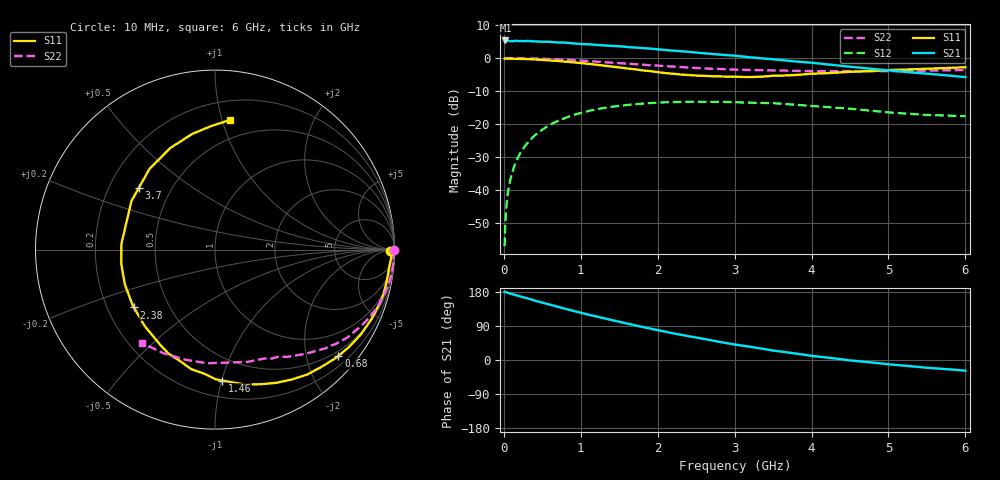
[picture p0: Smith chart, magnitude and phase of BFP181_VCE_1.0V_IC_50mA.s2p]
! Infineon Technologies  Discrete & RF Semiconductors
! BFP181
! VCE = 1.0 V,  IC =  50 mA
! Common Emitter S-Parameters:  Jan 2016
# GHz  S  MA  R  50
!  f  S11  S21  S12  S22
! GHz  MAG  ANG  MAG  ANG  MAG  ANG  MAG  ANG
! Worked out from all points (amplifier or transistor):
!   210 points, 10 MHz to 6 GHz, reference 50 ohm
!   highest |S21| = 5.3 dB at 20 MHz (marker M1)
!   |S21| within 3 dB of that: start of sweep to 2.148 GHz
!   unconditionally stable (mu >= 1): 3.557 GHz to end of sweep
!   at 185 MHz: K = 0.06, MSG = 17.6 dB, |S12| = -30.1 dB
!   at 1.52 GHz: K = 0.49, MSG = 9.0 dB, |S12| = -14.4 dB
!   at 6 GHz: K = 1.53, MAG = 1.6 dB, |S12| = -17.6 dB
!   S11 on the Smith chart (normalised r, x): 10 MHz: 70, -31; 680 MHz: 0.40, -2.64; 1.46 GHz: 0.32, -1.00; 2.38 GHz: 0.31, -0.29; 3.7 GHz: 0.33, +0.32; 6 GHz: 0.35, +1.06
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0.01  0.9765 -0.6  1.817 179.8  0.0014 84.7  0.9985 -0.2
0.015  0.9816 -1.0  1.833 179.6  0.0023 89.4  0.9986 -0.4
0.02  0.9868 -1.3  1.849 179.5  0.0032 91.4  0.9987 -0.6
0.04  0.9831 -2.4  1.833 178.0  0.0069 90.7  0.9981 -1.2
0.07  0.9784 -4.3  1.813 176.1  0.0119 87.4  0.9974 -2.1
0.12  0.9743 -7.4  1.806 173.2  0.0202 84.3  0.9961 -3.6
0.19  0.9717 -11.4  1.818 169.1  0.0323 81.7  0.9955 -5.8
0.4  0.9541 -23.9  1.794 156.9  0.0668 73.0  0.9843 -12.0
0.68  0.9072 -40.7  1.73 141.4  0.1082 61.1  0.9557 -20.1
0.8  0.8824 -47.8  1.717 135.0  0.1236 56.2  0.942 -23.3
1.02  0.8354 -60.5  1.629 123.8  0.1493 47.7  0.9106 -28.9
1.1  0.8174 -65.2  1.622 119.5  0.1574 44.9  0.8989 -30.8
1.46  0.7304 -86.9  1.519 102.6  0.1858 32.5  0.8432 -39.1
1.8  0.6497 -107.7  1.42 87.1  0.2042 22.9  0.7944 -45.5
2.02  0.6067 -121.3  1.351 77.9  0.212 16.9  0.7656 -49.4
2.38  0.5548 -144.5  1.247 63.6  0.2178 7.6  0.7225 -55.8
2.8  0.5284 -171.1  1.129 47.9  0.218 -1.2  0.6851 -62.3
3.1  0.5164 170.9  1.056 38.0  0.2121 -7.1  0.6622 -67.2
3.7  0.5461 141.1  0.909 19.7  0.1992 -16.0  0.6423 -77.6
4.1  0.5833 125.8  0.825 8.8  0.1847 -21.1  0.6323 -85.6
5.1  0.6618 99.2  0.634 -13.0  0.1472 -26.1  0.6353 -107.5
6  0.7256 83.6  0.514 -28.1  0.1315 -20.0  0.6599 -127.9
